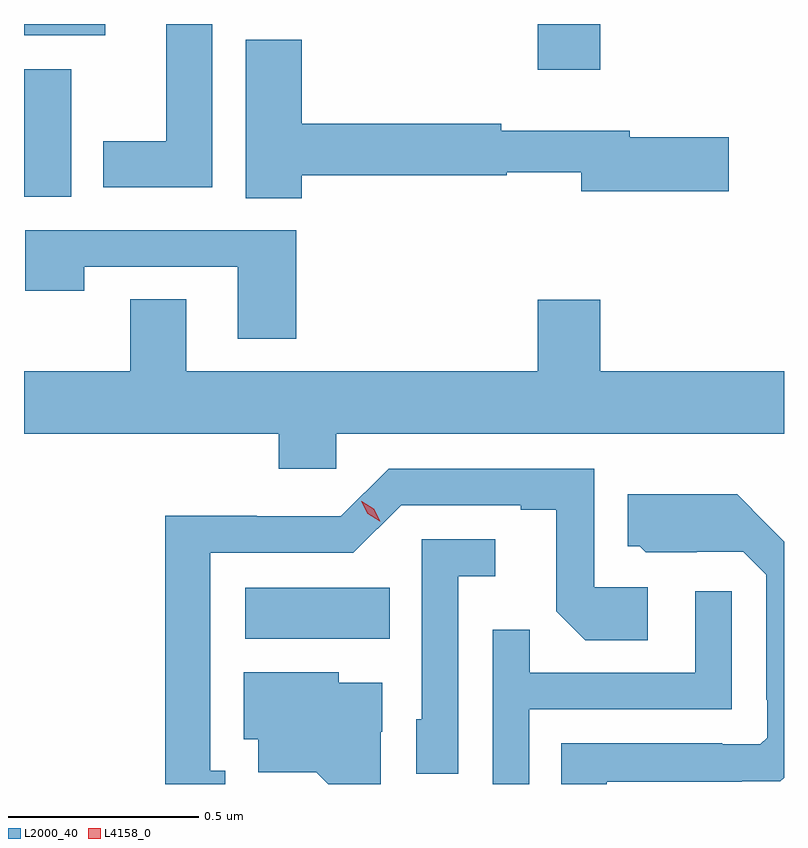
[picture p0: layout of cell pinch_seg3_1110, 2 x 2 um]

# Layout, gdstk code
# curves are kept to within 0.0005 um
import gdstk
lib = gdstk.Library(unit=1e-6, precision=1e-09)
def R(c, l, rs):  # rectangles x0, y0, x1, y1
    for r in rs: c.add(gdstk.rectangle(r[:2], r[2:], *l))
def P(c, l, *ps):  # polygons
    for p in ps: c.add(gdstk.Polygon(p, *l))
L2000_40 = (2000, 40)
L4158_0 = (4158, 0)

pinch_seg3_1110 = lib.new_cell('pinch_seg3_1110')
R(pinch_seg3_1110, L2000_40, [(320.082,685.724,320.462,685.858), (319.5,686.888,319.624,687.223), (320.852,687.222,321.016,687.342), (319.5,687.312,319.714,687.342)])
P(pinch_seg3_1110, L2000_40, [(319.996,687.342),(319.874,687.342),(319.874,687.034),(319.709,687.034),(319.709,686.912),(319.996,686.912)],
  [(320.231,686.944),(320.77,686.944),(320.77,686.952),(320.966,686.952),(320.966,686.902),(321.355,686.902),(321.355,687.044),(321.094,687.044),(321.094,687.061),(320.756,687.061),(320.756,687.08),(320.231,687.08),(320.231,687.3),(320.084,687.3),(320.084,686.884),(320.231,686.884)],
  [(320.216,686.799),(319.503,686.799),(319.503,686.64),(319.659,686.64),(319.659,686.703),(320.063,686.703),(320.063,686.514),(320.216,686.514)],
  [(320.322,686.264),(321.5,686.264),(321.5,686.428),(321.016,686.428),(321.016,686.617),(320.852,686.617),(320.852,686.428),(319.927,686.428),(319.927,686.618),(319.78,686.618),(319.78,686.428),(319.5,686.428),(319.5,686.264),(320.171,686.264),(320.171,686.171),(320.322,686.171)],
  [(320.029,685.377),(319.99,685.377),(319.99,685.95),(320.367,685.95),(320.493,686.076),(320.807,686.076),(320.807,686.064),(320.901,686.064),(320.901,685.796),(320.977,685.72),(321.142,685.72),(321.142,685.86),(321,685.86),(321,686.172),(320.46,686.172),(320.334,686.046),(320.112,686.046),(320.112,686.048),(319.872,686.048),(319.872,685.342),(320.029,685.342)],
  [(321.033,685.348),(321.389,685.348),(321.389,685.349),(321.49,685.349),(321.5,685.359),(321.5,685.98),(321.377,686.104),(321.089,686.104),(321.089,685.968),(321.12,685.968),(321.136,685.952),(321.27,685.952),(321.27,685.953),(321.393,685.953),(321.453,685.893),(321.453,685.564),(321.456,685.564),(321.456,685.464),(321.438,685.446),(321.338,685.446),(321.338,685.449),(320.914,685.449),(320.914,685.342),(321.033,685.342)],
  [(320.643,685.889),(320.74,685.889),(320.74,685.986),(320.547,685.986),(320.547,685.512),(320.532,685.512),(320.532,685.369),(320.643,685.369)],
  [(320.829,685.539),(321.363,685.539),(321.363,685.849),(321.267,685.849),(321.267,685.635),(320.831,685.635),(320.831,685.748),(320.733,685.748),(320.733,685.342),(320.829,685.342)],
  [(320.439,685.48),(320.443,685.48),(320.443,685.609),(320.328,685.609),(320.328,685.636),(320.078,685.636),(320.078,685.46),(320.117,685.46),(320.117,685.373),(320.269,685.373),(320.3,685.342),(320.439,685.342)])
P(pinch_seg3_1110, L4158_0, [(320.436,686.033),(320.405,686.053),(320.388,686.086),(320.388,686.086),(320.389,686.086),(320.42,686.066),(320.437,686.034),(320.437,686.033)])

lib.write_gds('pinch_seg3_1110.gds')
